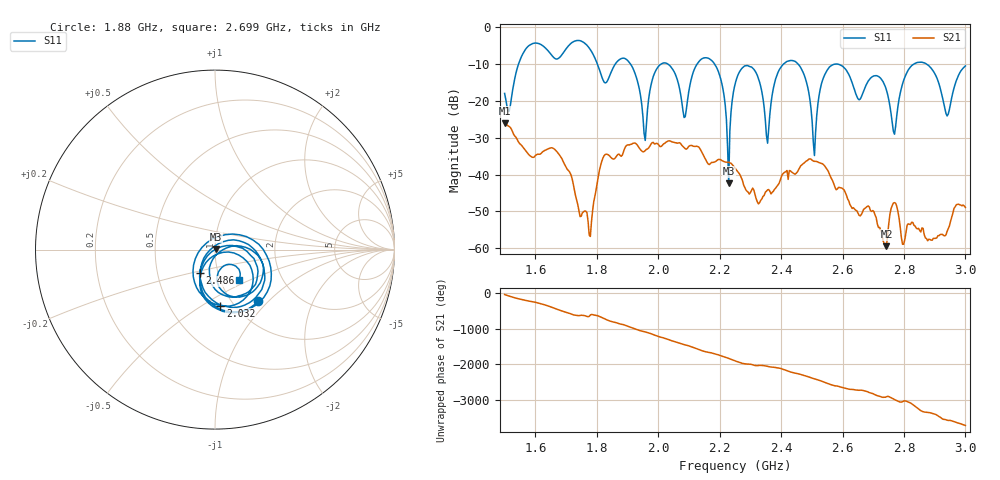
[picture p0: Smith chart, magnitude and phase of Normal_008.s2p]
# HZ S RI R 50
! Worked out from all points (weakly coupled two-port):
!   404 points, 1.5 GHz to 3 GHz, reference 50 ohm
!   highest |S21| = -26.09 dB at 1.5 GHz (marker M1); lowest = -59.4 dB at 2.743 GHz (marker M2)
!   lowest |S11| = -42.4 dB at 2.23 GHz (marker M3), VSWR 1.02, Z = 50.6 + j0.422 ohm
!   |S11| at or under -10 dB: 2.183 GHz to 2.408 GHz (224.9 MHz wide, 9.8 % of centre); 2.455 GHz to 2.833 GHz (378.1 MHz wide, 14.3 % of centre); 2.873 GHz to end of sweep (the widest 3 of 7)
!   S12 and S22 are empty: the file has one direction only
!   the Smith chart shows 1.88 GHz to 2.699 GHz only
!   S11 on the Smith chart (normalised r, x): 1.88 GHz: 1.31, -0.87; 2.032 GHz: 0.87, -0.60; 2.486 GHz: 0.82, -0.22; 2.699 GHz: 1.22, -0.43
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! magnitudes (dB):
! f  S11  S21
! 1.5 GHz  -18.0  -26.1
! 1.753 GHz  -3.9  -50.4
! 1.88 GHz  -8.5  -35.0
! 1.958 GHz  -30.7  -33.5
! 2.002 GHz  -10.5  -32.0
! 2.032 GHz  -10.1  -30.9
! 2.084 GHz  -24.5  -32.7
! 2.177 GHz  -9.4  -36.7
! 2.23 GHz  -42.4  -36.6
! 2.252 GHz  -15.0  -38.4
! 2.311 GHz  -11.4  -44.2
! 2.356 GHz  -31.5  -44.1
! 2.408 GHz  -10.0  -39.6
! 2.486 GHz  -16.2  -36.2
! 2.501 GHz  -25.7  -36.1
! 2.561 GHz  -10.6  -40.6
! 2.699 GHz  -13.4  -49.8
! 2.743 GHz  -17.1  -59.4
! 2.751 GHz  -19.7  -53.3
! 2.862 GHz  -9.6  -54.6
! 2.94 GHz  -24.1  -55.4
! 3 GHz  -10.5  -48.9
